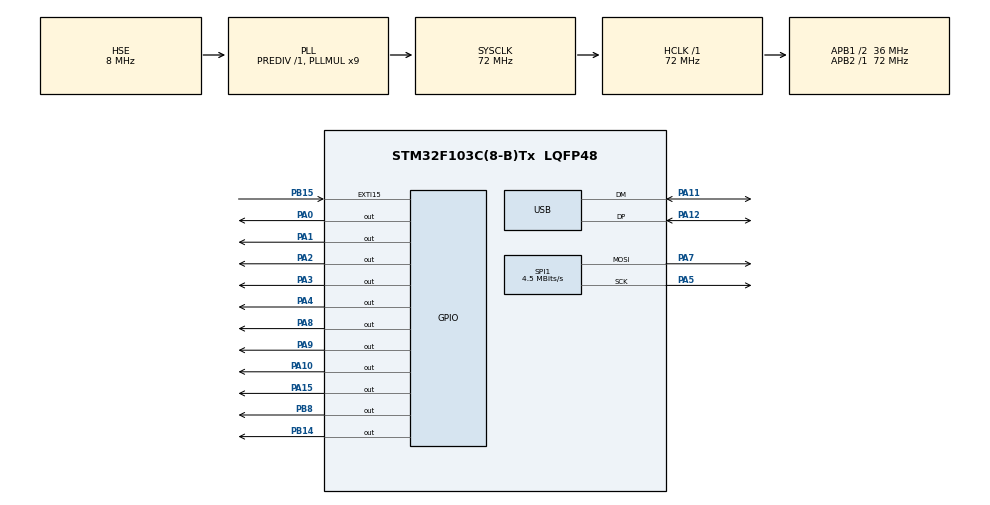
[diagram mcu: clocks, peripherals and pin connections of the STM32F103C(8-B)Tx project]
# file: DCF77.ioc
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Mcu.Family=STM32F1
Mcu.Name=STM32F103C(8-B)Tx
Mcu.Package=LQFP48
NVIC.EXTI15_10_IRQn=true\:0\:0\:false\:false\:true\:true\:true
NVIC.PriorityGroup=NVIC_PRIORITYGROUP_4
NVIC.USB_LP_CAN1_RX0_IRQn=true\:0\:0\:false\:false\:true\:false\:true
PA0-WKUP.Signal=GPIO_Output
PA1.Signal=GPIO_Output
PA10.Signal=GPIO_Output
PA11.Mode=Device
PA11.Signal=USB_DM
PA12.Mode=Device
PA12.Signal=USB_DP
PA13.Mode=Serial_Wire
PA13.Signal=SYS_JTMS-SWDIO
PA14.Mode=Serial_Wire
PA14.Signal=SYS_JTCK-SWCLK
PA15.Signal=GPIO_Output
PA2.Signal=GPIO_Output
PA3.Signal=GPIO_Output
PA4.Signal=GPIO_Output
PA5.Mode=TX_Only_Simplex_Unidirect_Master
PA5.Signal=SPI1_SCK
PA7.Mode=TX_Only_Simplex_Unidirect_Master
PA7.Signal=SPI1_MOSI
PA8.Signal=GPIO_Output
PA9.Signal=GPIO_Output
PB14.Signal=GPIO_Output
PB15.Signal=GPXTI15
PB8.Signal=GPIO_Output
PC14-OSC32_IN.Mode=LSE-External-Oscillator
PC14-OSC32_IN.Signal=RCC_OSC32_IN
PC15-OSC32_OUT.Mode=LSE-External-Oscillator
PC15-OSC32_OUT.Signal=RCC_OSC32_OUT
PD0-OSC_IN.Mode=HSE-External-Oscillator
PD0-OSC_IN.Signal=RCC_OSC_IN
PD1-OSC_OUT.Mode=HSE-External-Oscillator
PD1-OSC_OUT.Signal=RCC_OSC_OUT
ProjectManager.HeapSize=0x200
ProjectManager.StackSize=0x400
ProjectManager.TargetToolchain=Other Toolchains (GPDSC)
RCC.AHBFreq_Value=72000000
RCC.APB1CLKDivider=RCC_HCLK_DIV2
RCC.APB1Freq_Value=36000000
RCC.APB1TimFreq_Value=72000000
RCC.APB2Freq_Value=72000000
RCC.APB2TimFreq_Value=72000000
RCC.HCLKFreq_Value=72000000
RCC.PLLMUL=RCC_PLL_MUL9
RCC.PLLSourceVirtual=RCC_PLLSOURCE_HSE
RCC.RTCClockSelection=RCC_RTCCLKSOURCE_LSE
RCC.SYSCLKFreq_VALUE=72000000
RCC.SYSCLKSource=RCC_SYSCLKSOURCE_PLLCLK
RCC.USBFreq_Value=48000000
RCC.USBPrescaler=RCC_USBCLKSOURCE_PLL_DIV1_5
SPI1.BaudRatePrescaler=SPI_BAUDRATEPRESCALER_16
SPI1.CalculateBaudRate=4.5 MBits/s
SPI1.Direction=SPI_DIRECTION_2LINES
SPI1.Mode=SPI_MODE_MASTER
SPI1.VirtualType=VM_MASTER
TIM1.Period=65534
TIM1.Prescaler=72-1
USB_DEVICE.CLASS_NAME_FS=CDC
USB_DEVICE.VirtualMode=Cdc
USB_DEVICE.VirtualModeFS=Cdc_FS
VP_RTC_VS_RTC_Activate.Mode=RTC_Enabled
VP_RTC_VS_RTC_Calendar.Mode=RTC_Calendar
VP_TIM1_VS_ClockSourceINT.Mode=Internal
VP_USB_DEVICE_VS_USB_DEVICE_CDC_FS.Mode=CDC_FS
board=custom

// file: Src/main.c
/* USER CODE BEGIN Header */
/**
 ******************************************************************************
 * @file           : main.c
 * @brief          : Main program body
 ******************************************************************************
 * @attention
 *
 * <h2><center>&copy; Copyright (c) 2022 STMicroelectronics.
 * All rights reserved.</center></h2>
 *
 * This software component is licensed by ST under Ultimate Liberty license
 * SLA0044, the "License"; You may not use this file except in compliance with
 * the License. You may obtain a copy of the License at:
 *                             www.st.com/SLA0044
 *
 ******************************************************************************
 */
/* USER CODE END Header */
#include "main.h"
#include "rtc.h"
#include "spi.h"
#include "tim.h"
#include "usb_device.h"
#include "gpio.h"

/* USER CODE BEGIN Includes */

#include "dcf77.h"

/* USER CODE END Includes */

/* USER CODE BEGIN PD */

// Pin Defines
#define CS_Inner GPIO_PIN_0
#define CS_Outer GPIO_PIN_1
#define CS_Date GPIO_PIN_3
#define CS_Time GPIO_PIN_2
#define CS_Pulse GPIO_PIN_4
#define Ser_Data GPIO_PIN_8
#define Ser_Clock GPIO_PIN_9
#define Ser_Latch GPIO_PIN_10
#define RTC_Lock GPIO_PIN_15
#define PON GPIO_PIN_14
#define USB_Connect GPIO_PIN_8

// MAX7221 Defines
#define Dig0 0x1
#define Dig1 0x2
#define Dig2 0x3
#define Dig3 0x4
#define Dig4 0x5
#define Dig5 0x6
#define Dig6 0x7
#define Dig7 0x8
#define DecodeMode 0x9
#define Intensity 0xA
#define ScanLimit 0xB
#define Shutdown 0xC
#define DispTest 0xF

/* USER CODE END PD */

/* USER CODE BEGIN PV */

// timestamp variables
uint32_t pulse_time1, pulse_time2, period_time, temp;

// indicator array:
// CEST-P1-P2-P3-PErr-Mo-Di-Mi-Do-Fr-Sa-So-CET
bool leds[13];

// Minute Telegrams
uint8_t bitno;
bool minute[60];

// time data variable
uint8_t hour_tens, hour_ones,
    minute_tens, minute_ones,
    second_tens, second_ones,
    year_tens, year_ones,
    month_tens, month_ones,
    day_tens, day_ones,
    week,
    bitval, digs, bits;
uint16_t period, pulse;

// SPI
uint8_t data_buf[2];

bool pulse_ok = false, period_ok = false, perr = true;
uint32_t minstart = 0;

uint8_t t, h1, h2, z1, z2, e1, e2;
uint8_t out[8];
char usb_buffer[45];

/* USER CODE END PV */

void SystemClock_Config(void);

int main(void)
{

  /* MCU Configuration--------------------------------------------------------*/

  /* Reset of all peripherals, Initializes the Flash interface and the Systick. */
  HAL_Init();

  /* Configure the system clock */
  SystemClock_Config();

  /* Initialize all configured peripherals */
  MX_GPIO_Init();
  MX_RTC_Init();
  MX_SPI1_Init();
  MX_USB_DEVICE_Init();
  MX_TIM1_Init();
  /* USER CODE BEGIN 2 */
  timer_init();

  // Module Init and test routines
  IO_Init();

  RTC_Read();
  HAL_GPIO_WritePin(GPIOB, USB_Connect, 0);

  pulse_time1 = HAL_GetTick();
  pulse_time2 = pulse_time1;
  period_time = pulse_time1;
  temp = pulse_time1;

  /* USER CODE END 2 */

  /* Infinite loop */
  while (1)
  {

    /* USER CODE BEGIN 3 */
    temp = HAL_GetTick();

    if (period_ok)
    {
      sekundentakt();
    }
    if (pulse_ok)
    {
      pulstakt();
    }
  }
  /* USER CODE END 3 */
}

void SystemClock_Config(void)
{
  RCC_OscInitTypeDef RCC_OscInitStruct = {0};
  RCC_ClkInitTypeDef RCC_ClkInitStruct = {0};
  RCC_PeriphCLKInitTypeDef PeriphClkInit = {0};

  /** Initializes the RCC Oscillators according to the specified parameters
   * in the RCC_OscInitTypeDef structure.
   */
  RCC_OscInitStruct.OscillatorType = RCC_OSCILLATORTYPE_HSE | RCC_OSCILLATORTYPE_LSE;
  RCC_OscInitStruct.HSEState = RCC_HSE_ON;
  RCC_OscInitStruct.HSEPredivValue = RCC_HSE_PREDIV_DIV1;
  RCC_OscInitStruct.LSEState = RCC_LSE_ON;
  RCC_OscInitStruct.HSIState = RCC_HSI_ON;
  RCC_OscInitStruct.PLL.PLLState = RCC_PLL_ON;
  RCC_OscInitStruct.PLL.PLLSource = RCC_PLLSOURCE_HSE;
  RCC_OscInitStruct.PLL.PLLMUL = RCC_PLL_MUL9;
  if (HAL_RCC_OscConfig(&RCC_OscInitStruct) != HAL_OK)
  {
    Error_Handler();
  }
  /** Initializes the CPU, AHB and APB buses clocks
   */
  RCC_ClkInitStruct.ClockType = RCC_CLOCKTYPE_HCLK | RCC_CLOCKTYPE_SYSCLK | RCC_CLOCKTYPE_PCLK1 | RCC_CLOCKTYPE_PCLK2;
  RCC_ClkInitStruct.SYSCLKSource = RCC_SYSCLKSOURCE_PLLCLK;
  RCC_ClkInitStruct.AHBCLKDivider = RCC_SYSCLK_DIV1;
  RCC_ClkInitStruct.APB1CLKDivider = RCC_HCLK_DIV2;
  RCC_ClkInitStruct.APB2CLKDivider = RCC_HCLK_DIV1;

  if (HAL_RCC_ClockConfig(&RCC_ClkInitStruct, FLASH_LATENCY_2) != HAL_OK)
  {
    Error_Handler();
  }
  PeriphClkInit.PeriphClockSelection = RCC_PERIPHCLK_RTC | RCC_PERIPHCLK_USB;
  PeriphClkInit.RTCClockSelection = RCC_RTCCLKSOURCE_LSE;
  PeriphClkInit.UsbClockSelection = RCC_USBCLKSOURCE_PLL_DIV1_5;
  if (HAL_RCCEx_PeriphCLKConfig(&PeriphClkInit) != HAL_OK)
  {
    Error_Handler();
  }
}

/* USER CODE BEGIN 4 */
void RTC_Read(void)
{
  RTC_DateTypeDef gDate;
  RTC_TimeTypeDef gTime;
  /* Get the RTC current Time */
  HAL_RTC_GetTime(&hrtc, &gTime, RTC_FORMAT_BCD);
  /* Get the RTC current Date */
  HAL_RTC_GetDate(&hrtc, &gDate, RTC_FORMAT_BCD);

  gDate.Year = HAL_RTCEx_BKUPRead(&hrtc, RTC_BKP_DR1);    // backup register
  gDate.Month = HAL_RTCEx_BKUPRead(&hrtc, RTC_BKP_DR2);   // backup register
  gDate.Date = HAL_RTCEx_BKUPRead(&hrtc, RTC_BKP_DR3);    // backup register
  gDate.WeekDay = HAL_RTCEx_BKUPRead(&hrtc, RTC_BKP_DR4); // backup register

  hour_tens = gTime.Hours >> 4;
  hour_ones = gTime.Hours & 0x0F;
  minute_tens = gTime.Minutes >> 4;
  minute_ones = gTime.Minutes & 0x0F;
  year_tens = gDate.Year >> 4;
  year_ones = gDate.Year & 0x0F;
  month_tens = gDate.Month >> 4;
  month_ones = gDate.Month & 0x0F;
  day_tens = gDate.Date >> 4;
  day_ones = gDate.Date & 0x0F;

  MAX7221_Send(CS_Time, Dig0, hour_tens);
  MAX7221_Send(CS_Time, Dig1, hour_ones | 0x80);
  MAX7221_Send(CS_Time, Dig2, minute_tens);
  MAX7221_Send(CS_Time, Dig3, minute_ones | 0x80);

  MAX7221_Send(CS_Date, Dig0, day_tens);
  MAX7221_Send(CS_Date, Dig1, day_ones | 0x80);
  MAX7221_Send(CS_Date, Dig2, month_tens);
  MAX7221_Send(CS_Date, Dig3, month_ones | 0x80);
  MAX7221_Send(CS_Date, Dig4, year_tens);
  MAX7221_Send(CS_Date, Dig5, year_ones);
}

void RTC_Write(void)
{
  __HAL_RTC_WRITEPROTECTION_DISABLE(&hrtc);
  HAL_PWR_EnableBkUpAccess();
  RTC_TimeTypeDef sTime;
  RTC_DateTypeDef sDate;
  sTime.Hours = (hour_tens << 4) + hour_ones;       // set hours
  sTime.Minutes = (minute_tens << 4) + minute_ones; // set minutes
  sTime.Seconds = 0x00;                             // set seconds
  sDate.Month = (month_tens << 4) + month_ones;     // month
  sDate.Date = (day_tens << 4) + day_ones;          // date
  sDate.Year = (year_tens << 4) + year_ones;        // year

  HAL_RTC_SetDate(&hrtc, &sDate, RTC_FORMAT_BCD);
  HAL_RTC_SetTime(&hrtc, &sTime, RTC_FORMAT_BCD);
  HAL_RTCEx_BKUPWrite(&hrtc, RTC_BKP_DR1, sDate.Year);  // backup register
  HAL_RTCEx_BKUPWrite(&hrtc, RTC_BKP_DR2, sDate.Month); // backup register
  HAL_RTCEx_BKUPWrite(&hrtc, RTC_BKP_DR3, sDate.Date);  // backup register
  HAL_RTCEx_BKUPWrite(&hrtc, RTC_BKP_DR4, week);        // backup register
  HAL_GPIO_WritePin(GPIOA, RTC_Lock, 1);
}

void sekundentakt(void)
{
  uint32_t temp1 = pulse_time1 - period_time;
  e1 = temp1 % 10;
  z1 = ((temp1 % 100) - e1) / 10;
  h1 = ((temp1 % 1000) - z1) / 100;
  t = (temp1 - h1) / 1000;

  MAX7221_Send(CS_Pulse, Dig0, t | 0x80);
  MAX7221_Send(CS_Pulse, Dig1, h1);
  MAX7221_Send(CS_Pulse, Dig2, z1);
  MAX7221_Send(CS_Pulse, Dig3, e1);

  if (temp1 > 1500)
  {
    minstart++;
    bitno = 0;
    digs = 0;
    bits = 0;

    for (int i = 1; i < 9; i++)
    {
      MAX7221_Send(CS_Outer, i, out[i - 1]);
    }
    for (int i = 1; i < 9; i++)
    {
      MAX7221_Send(CS_Inner, i, 0x0);
    }
    analyze();
    if (minstart < 2)
    {
      RTC_Read();
      if (minstart == 1)
      {
        minute_ones++;
        if (minute_ones == 10)
        {
          minute_ones = 0;
          minute_tens++;
          if (minute_tens == 6)
          {
            minute_tens = 0;
            hour_ones++;
            if (hour_ones == 10)
            {
              hour_ones = 0;
              hour_tens++;
            }
          }
        }
        MAX7221_Send(CS_Time, Dig0, hour_tens);
        MAX7221_Send(CS_Time, Dig1, hour_ones | 0x80);
        MAX7221_Send(CS_Time, Dig2, minute_tens);
        MAX7221_Send(CS_Time, Dig3, minute_ones | 0x80);
      }
    }
    else
    {
      sprintf(usb_buffer, "Es ist der %d%d.%d%d.20%d%d um %d%d:%d%d:00 Uhr.\r\n",
              day_tens, day_ones,
              month_tens, month_ones,
              year_tens, year_ones,
              hour_tens, hour_ones,
              minute_tens, minute_ones);
      CDC_Transmit_FS(usb_buffer, strlen(usb_buffer));
    }
    if (((hour_ones + hour_tens) > 0) && ((hour_ones + (hour_tens << 4)) < 24) && ((minute_ones + minute_tens) == 0))
    {
      RTC_Write();
    }
  }

  if (minstart > 0)
  {
    MAX7221_Send(CS_Time, Dig4, (bitno - (bitno % 10)) / 10);
    MAX7221_Send(CS_Time, Dig5, bitno % 10);
  }
  else
  {
    if (bitno % 2)
    {
      MAX7221_Send(CS_Time, Dig4, 0xF);
      MAX7221_Send(CS_Time, Dig5, 0xF);
    }
    else
    {
      MAX7221_Send(CS_Time, Dig4, 0x0);
      MAX7221_Send(CS_Time, Dig5, 0x0);
    }
  }
  period_ok = false;
}

void pulstakt(void)
{
  uint32_t p = pulse_time2 - pulse_time1;
  e2 = p % 10;
  z2 = (p % 100 - e2) / 10;
  h2 = (p % 1000 - z2) / 100;

  MAX7221_Send(CS_Pulse, Dig4, h2);
  MAX7221_Send(CS_Pulse, Dig5, z2);
  MAX7221_Send(CS_Pulse, Dig6, e2);

  if ((pulse_time2 - pulse_time1) > 120)
  {
    MAX7221_Send(CS_Pulse, Dig7, 1);
    bitval = 1;
  }
  else
  {
    MAX7221_Send(CS_Pulse, Dig7, 0);
    bitval = 0;
  }
  pulse_ok = false;

  if (minstart > 0)
  {
    switch (bitno % 8)
    {
    case 0:
      bits |= bitval << 6;
      break;
    case 1:
      bits |= bitval << 5;
      break;
    case 2:
      bits |= bitval << 4;
      break;
    case 3:
      bits |= bitval << 3;
      break;
    case 4:
      bits |= bitval << 2;
      break;
    case 5:
      bits |= bitval << 1;
      break;
    case 6:
      bits |= bitval << 0;
      break;
    case 7:
      bits |= bitval << 7;
      break;
    }
    digs = (bitno - (bitno % 8)) / 8;
    minute[bitno] = bitval;

    out[digs] = bits;

    MAX7221_Send(CS_Inner, digs + 1, bits);
  }
  bitno++;
  if (!(bitno % 8))
  {
    bits = 0;
  }
}

void analyze(void)
{
  minute_ones = minute[21] +
                minute[22] * 2 +
                minute[23] * 4 +
                minute[24] * 8;
  minute_tens = minute[25] +
                minute[26] * 2 +
                minute[27] * 4;

  hour_ones = minute[29] +
              minute[30] * 2 +
              minute[31] * 4 +
              minute[32] * 8;
  hour_tens = minute[33] +
              minute[34] * 2;

  day_ones = minute[36] +
             minute[37] * 2 +
             minute[38] * 4 +
             minute[39] * 8;
  day_tens = minute[40] +
             minute[41] * 2;

  month_ones = minute[45] +
               minute[46] * 2 +
               minute[47] * 4 +
               minute[48] * 8;
  month_tens = minute[49];

  year_ones = minute[50] +
              minute[51] * 2 +
              minute[52] * 4 +
              minute[53] * 8;
  year_tens = minute[54] +
              minute[55] * 2 +
              minute[56] * 4 +
              minute[57] * 8;

  week = minute[42] +
         minute[43] * 2 +
         minute[44] * 4;

  bool mo = false, di = false, mi = false, d = false, fr = false, sa = false, so = false;
  switch (week)
  {
  case 1:
    mo = true;
    di = false;
    mi = false;
    d = false;
    fr = false;
    sa = false;
    so = false;
    break;
  case 2:
    mo = false;
    di = true;
    mi = false;
    d = false;
    fr = false;
    sa = false;
    so = false;
    break;
  case 3:
    mo = false;
    di = false;
    mi = true;
    d = false;
    fr = false;
    sa = false;
    so = false;
    break;
  case 4:
    mo = false;
    di = false;
    mi = false;
    d = true;
    fr = false;
    sa = false;
    so = false;
    break;
  case 5:
    mo = false;
    di = false;
    mi = false;
    d = false;
    fr = true;
    sa = false;
    so = false;
    break;
  case 6:
    mo = false;
    di = false;
    mi = false;
    d = false;
    fr = false;
    sa = true;
    so = false;
    break;
  case 7:
    mo = false;
    di = false;
    mi = false;
    d = false;
    fr = false;
    sa = false;
    so = true;
    break;
  }

  uint8_t parity = 0;
  for (int i = 21; i < 59; i++)
  {
    parity += minute[i];
  }
  if (parity % 2 == 0)
  {
    perr = false;
  }
  else
  {
    perr = true;
  }

  if (!perr && (minstart > 1))
  {
    MAX7221_Send(CS_Time, Dig0, hour_tens);
    MAX7221_Send(CS_Time, Dig1, hour_ones | 0x80);
    MAX7221_Send(CS_Time, Dig2, minute_tens);
    MAX7221_Send(CS_Time, Dig3, minute_ones | 0x80);

    MAX7221_Send(CS_Date, Dig0, day_tens);
    MAX7221_Send(CS_Date, Dig1, day_ones | 0x80);
    MAX7221_Send(CS_Date, Dig2, month_tens);
    MAX7221_Send(CS_Date, Dig3, month_ones | 0x80);
    MAX7221_Send(CS_Date, Dig4, year_tens);
    MAX7221_Send(CS_Date, Dig5, year_ones);
  }
  else
  {
    RTC_Read();
  }

  leds[12] = minute[17];
  leds[11] = minute[28];
  leds[10] = minute[35];
  leds[9] = minute[58];
  leds[8] = perr;
  leds[7] = so;
  leds[6] = mo;
  leds[5] = di;
  leds[4] = mi;
  leds[3] = d;
  leds[2] = fr;
  leds[1] = sa;
  leds[0] = minute[18];

  LED_Indicators(leds);
}

void IO_Init(void)
{
  HAL_GPIO_WritePin(GPIOB, PON, 1);
  HAL_GPIO_WritePin(GPIOB, PON, 0);
  HAL_GPIO_WritePin(GPIOB, USB_Connect, 1);
  HAL_GPIO_WritePin(GPIOA, CS_Inner, 0);
  HAL_GPIO_WritePin(GPIOA, CS_Inner, 0);
  HAL_GPIO_WritePin(GPIOA, CS_Outer, 0);
  HAL_GPIO_WritePin(GPIOA, CS_Date, 0);
  HAL_GPIO_WritePin(GPIOA, CS_Time, 0);
  HAL_GPIO_WritePin(GPIOA, CS_Pulse, 0);
  HAL_GPIO_WritePin(GPIOA, Ser_Clock, 0);
  HAL_GPIO_WritePin(GPIOA, Ser_Data, 0);
  HAL_GPIO_WritePin(GPIOA, Ser_Latch, 0);

  // Inner Ring Init
  MAX7221_Send(CS_Inner, Shutdown, 0x01);
  MAX7221_Send(CS_Inner, ScanLimit, 0x07);
  MAX7221_Send(CS_Inner, Dig0, 0xff);
  MAX7221_Send(CS_Inner, Dig1, 0xff);
  MAX7221_Send(CS_Inner, Dig2, 0xff);
  MAX7221_Send(CS_Inner, Dig3, 0xff);
  MAX7221_Send(CS_Inner, Dig4, 0xff);
  MAX7221_Send(CS_Inner, Dig5, 0xff);
  MAX7221_Send(CS_Inner, Dig6, 0xff);
  MAX7221_Send(CS_Inner, Dig7, 0xff);

  // Outer Ring Init
  MAX7221_Send(CS_Outer, Shutdown, 0x01);
  MAX7221_Send(CS_Outer, ScanLimit, 0x07);
  MAX7221_Send(CS_Outer, Dig0, 0xff);
  MAX7221_Send(CS_Outer, Dig1, 0xff);
  MAX7221_Send(CS_Outer, Dig2, 0xff);
  MAX7221_Send(CS_Outer, Dig3, 0xff);
  MAX7221_Send(CS_Outer, Dig4, 0xff);
  MAX7221_Send(CS_Outer, Dig5, 0xff);
  MAX7221_Send(CS_Outer, Dig6, 0xff);
  MAX7221_Send(CS_Outer, Dig7, 0xff);

  // Date Init
  MAX7221_Send(CS_Date, Shutdown, 0x01);
  MAX7221_Send(CS_Date, ScanLimit, 0x05);
  MAX7221_Send(CS_Date, DecodeMode, 0xFF);
  MAX7221_Send(CS_Date, Dig0, 0x00);
  MAX7221_Send(CS_Date, Dig1, 0x80);
  MAX7221_Send(CS_Date, Dig2, 0x00);
  MAX7221_Send(CS_Date, Dig3, 0x80);
  MAX7221_Send(CS_Date, Dig4, 0x00);
  MAX7221_Send(CS_Date, Dig5, 0x00);

  // Time Init
  MAX7221_Send(CS_Time, Shutdown, 0x01);
  MAX7221_Send(CS_Time, ScanLimit, 0x05);
  MAX7221_Send(CS_Time, DecodeMode, 0xFF);
  MAX7221_Send(CS_Time, Dig0, 0x0);
  MAX7221_Send(CS_Time, Dig1, 0x80);
  MAX7221_Send(CS_Time, Dig2, 0x0);
  MAX7221_Send(CS_Time, Dig3, 0x80);
  MAX7221_Send(CS_Time, Dig4, 0x0);
  MAX7221_Send(CS_Time, Dig5, 0x0);

  // Pulse Init
  MAX7221_Send(CS_Pulse, Shutdown, 0x01);
  MAX7221_Send(CS_Pulse, ScanLimit, 0x07);
  MAX7221_Send(CS_Pulse, DecodeMode, 0xFF);
  MAX7221_Send(CS_Pulse, Dig0, 0x80);
  MAX7221_Send(CS_Pulse, Dig1, 0x0);
  MAX7221_Send(CS_Pulse, Dig2, 0x0);
  MAX7221_Send(CS_Pulse, Dig3, 0x0);
  MAX7221_Send(CS_Pulse, Dig4, 0x0);
  MAX7221_Send(CS_Pulse, Dig5, 0x0);
  MAX7221_Send(CS_Pulse, Dig6, 0x0);
  MAX7221_Send(CS_Pulse, Dig7, 0x0);

  for (int i = 0; i < 13; i++)
    leds[i] = 0;
  LED_Indicators(leds);
}

void MAX7221_Send(uint16_t _pin, uint8_t _reg, uint8_t _data)
{
  data_buf[0] = _reg;
  data_buf[1] = _data;
  delay_us(1);
  HAL_GPIO_WritePin(GPIOA, _pin, 1);
  HAL_SPI_Transmit(&hspi1, (uint8_t *)&data_buf, 2, 100);
  HAL_GPIO_WritePin(GPIOA, _pin, 0);
  delay_us(1);
}

// Update LED Indicators
void LED_Indicators(bool arr[13])
{
  for (int i = 13; i != 0; i--)
  {
    HAL_GPIO_WritePin(GPIOA, Ser_Data, arr[i - 1]);
    delay_us(1);
    HAL_GPIO_WritePin(GPIOA, Ser_Clock, 1);
    delay_us(1);
    HAL_GPIO_WritePin(GPIOA, Ser_Clock, 0);
  }
  delay_us(1);
  HAL_GPIO_WritePin(GPIOA, Ser_Latch, 1);
  delay_us(1);
  HAL_GPIO_WritePin(GPIOA, Ser_Latch, 0);
}

// Interrupt Handler
void HAL_GPIO_EXTI_Callback(uint16_t GPIO_Pin)
{
  if (GPIO_Pin == GPIO_PIN_15)
  {
    if (HAL_GPIO_ReadPin(GPIOB, GPIO_PIN_15) == 0)
    {
      period_time = pulse_time1;
      pulse_time1 = temp;
      period_ok = true;
    }
    else
    {
      pulse_time2 = temp;
      pulse_ok = true;
    }
  }
}

/* USER CODE END 4 */

void Error_Handler(void)
{
  __disable_irq();
  while (1)
  {
  }
}

/************************ (C) COPYRIGHT STMicroelectronics *****END OF FILE****/
